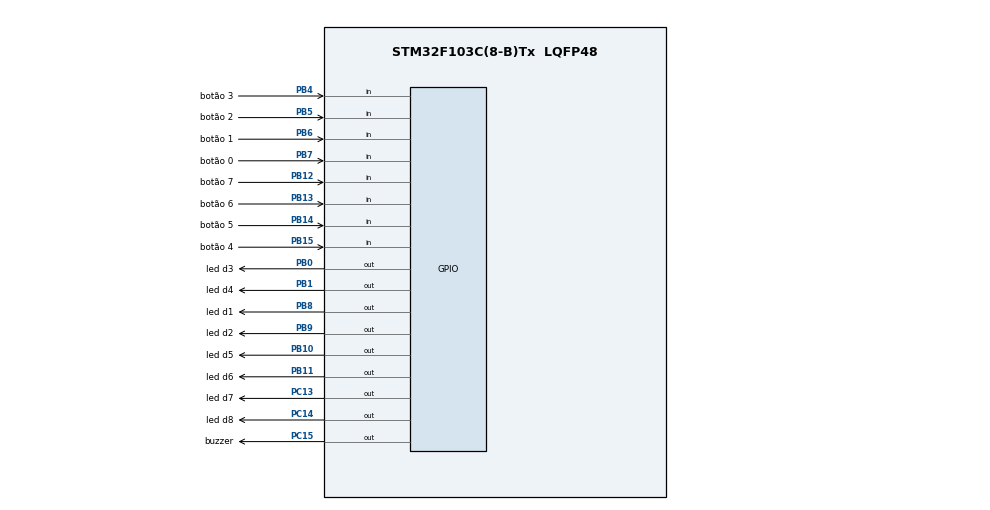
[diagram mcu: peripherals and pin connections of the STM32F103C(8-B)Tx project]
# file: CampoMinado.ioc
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Mcu.Family=STM32F1
Mcu.Name=STM32F103C(8-B)Tx
Mcu.Package=LQFP48
NVIC.PriorityGroup=NVIC_PRIORITYGROUP_4
PA13.Mode=Serial_Wire
PA13.Signal=SYS_JTMS-SWDIO
PA14.Mode=Serial_Wire
PA14.Signal=SYS_JTCK-SWCLK
PB0.GPIO_Label=led d3
PB0.Signal=GPIO_Output
PB1.GPIO_Label=led d4
PB1.Signal=GPIO_Output
PB10.GPIO_Label=led d5
PB10.Signal=GPIO_Output
PB11.GPIO_Label=led d6
PB11.Signal=GPIO_Output
PB12.GPIO_Label=bot\u00E3o 7
PB12.Signal=GPIO_Input
PB13.GPIO_Label=bot\u00E3o 6
PB13.Signal=GPIO_Input
PB14.GPIO_Label=bot\u00E3o 5
PB14.Signal=GPIO_Input
PB15.GPIO_Label=bot\u00E3o 4
PB15.Signal=GPIO_Input
PB4.GPIO_Label=bot\u00E3o 3
PB4.GPIO_PuPd=GPIO_PULLUP
PB4.Signal=GPIO_Input
PB5.GPIO_Label=bot\u00E3o 2
PB5.GPIO_PuPd=GPIO_PULLUP
PB5.Signal=GPIO_Input
PB6.GPIO_Label=bot\u00E3o 1
PB6.GPIO_PuPd=GPIO_PULLUP
PB6.Signal=GPIO_Input
PB7.GPIO_Label=bot\u00E3o 0
PB7.GPIO_PuPd=GPIO_PULLUP
PB7.Signal=GPIO_Input
PB8.GPIO_Label=led d1
PB8.Signal=GPIO_Output
PB9.GPIO_Label=led d2
PB9.Signal=GPIO_Output
PC13-TAMPER-RTC.GPIO_Label=led d7
PC13-TAMPER-RTC.Signal=GPIO_Output
PC14-OSC32_IN.GPIO_Label=led d8
PC14-OSC32_IN.Signal=GPIO_Output
PC15-OSC32_OUT.GPIO_Label=buzzer
PC15-OSC32_OUT.GPIO_Speed=GPIO_SPEED_FREQ_LOW
PC15-OSC32_OUT.Signal=GPIO_Output
ProjectManager.HeapSize=0x200
ProjectManager.StackSize=0x400
ProjectManager.TargetToolchain=STM32CubeIDE
RCC.APB1Freq_Value=8000000
RCC.APB2Freq_Value=8000000
board=custom

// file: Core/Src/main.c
/* USER CODE BEGIN Header */
/**
  ******************************************************************************
  * @file           : main.c
  * @brief          : Main program body
  ******************************************************************************
  * @attention
  *
  * <h2><center>&copy; Copyright (c) 2023 STMicroelectronics.
  * All rights reserved.</center></h2>
  *
  * This software component is licensed by ST under BSD 3-Clause license,
  * the "License"; You may not use this file except in compliance with the
  * License. You may obtain a copy of the License at:
  *                        opensource.org/licenses/BSD-3-Clause
  *
  ******************************************************************************
  */
/* USER CODE END Header */
#include "main.h"

/* USER CODE BEGIN Includes */

#include <stdlib.h> //biblioteca de sorteio
#include <stdio.h> //biblioteca de função com retorno

/* USER CODE END Includes */

/* USER CODE BEGIN PV */
 char CampoMinado[4][4];

/* USER CODE END PV */

void SystemClock_Config(void);
static void MX_GPIO_Init(void);
/* USER CODE BEGIN PFP */

void PiscaLed(); //ok
char sorteio(); //ok
void fim(); //ok
void intermitente(); //ok
void Buzzer(); //ok
void Acerto(); //ok
char VerificaColuna(); //ok
char VerificaLinha(); //ok
void LerCombinacao(); //ok

/* USER CODE END PFP */

int main(void)
{

  /* MCU Configuration--------------------------------------------------------*/

  /* Reset of all peripherals, Initializes the Flash interface and the Systick. */
  HAL_Init();

  /* Configure the system clock */
  SystemClock_Config();

  /* Initialize all configured peripherals */
  MX_GPIO_Init();

  /* Infinite loop */
  /* USER CODE BEGIN WHILE */
  while (1)
  {
	  LerCombinacao();

    /* USER CODE END WHILE */

  }
}

void SystemClock_Config(void)
{
  RCC_OscInitTypeDef RCC_OscInitStruct = {0};
  RCC_ClkInitTypeDef RCC_ClkInitStruct = {0};

  /** Initializes the RCC Oscillators according to the specified parameters
  * in the RCC_OscInitTypeDef structure.
  */
  RCC_OscInitStruct.OscillatorType = RCC_OSCILLATORTYPE_HSI;
  RCC_OscInitStruct.HSIState = RCC_HSI_ON;
  RCC_OscInitStruct.HSICalibrationValue = RCC_HSICALIBRATION_DEFAULT;
  RCC_OscInitStruct.PLL.PLLState = RCC_PLL_NONE;
  if (HAL_RCC_OscConfig(&RCC_OscInitStruct) != HAL_OK)
  {
    Error_Handler();
  }
  /** Initializes the CPU, AHB and APB buses clocks
  */
  RCC_ClkInitStruct.ClockType = RCC_CLOCKTYPE_HCLK|RCC_CLOCKTYPE_SYSCLK
                              |RCC_CLOCKTYPE_PCLK1|RCC_CLOCKTYPE_PCLK2;
  RCC_ClkInitStruct.SYSCLKSource = RCC_SYSCLKSOURCE_HSI;
  RCC_ClkInitStruct.AHBCLKDivider = RCC_SYSCLK_DIV1;
  RCC_ClkInitStruct.APB1CLKDivider = RCC_HCLK_DIV1;
  RCC_ClkInitStruct.APB2CLKDivider = RCC_HCLK_DIV1;

  if (HAL_RCC_ClockConfig(&RCC_ClkInitStruct, FLASH_LATENCY_0) != HAL_OK)
  {
    Error_Handler();
  }
}

static void MX_GPIO_Init(void)
{
  GPIO_InitTypeDef GPIO_InitStruct = {0};

  /* GPIO Ports Clock Enable */
  __HAL_RCC_GPIOC_CLK_ENABLE();
  __HAL_RCC_GPIOB_CLK_ENABLE();
  __HAL_RCC_GPIOA_CLK_ENABLE();

  /*Configure GPIO pin Output Level */
  HAL_GPIO_WritePin(GPIOC, led_d7_Pin|led_d8_Pin|buzzer_Pin, GPIO_PIN_RESET);

  /*Configure GPIO pin Output Level */
  HAL_GPIO_WritePin(GPIOB, led_d3_Pin|led_d4_Pin|led_d5_Pin|led_d6_Pin
                          |led_d1_Pin|led_d2_Pin, GPIO_PIN_RESET);

  /*Configure GPIO pins : led_d7_Pin led_d8_Pin buzzer_Pin */
  GPIO_InitStruct.Pin = led_d7_Pin|led_d8_Pin|buzzer_Pin;
  GPIO_InitStruct.Mode = GPIO_MODE_OUTPUT_PP;
  GPIO_InitStruct.Pull = GPIO_NOPULL;
  GPIO_InitStruct.Speed = GPIO_SPEED_FREQ_LOW;
  HAL_GPIO_Init(GPIOC, &GPIO_InitStruct);

  /*Configure GPIO pins : led_d3_Pin led_d4_Pin led_d5_Pin led_d6_Pin
                           led_d1_Pin led_d2_Pin */
  GPIO_InitStruct.Pin = led_d3_Pin|led_d4_Pin|led_d5_Pin|led_d6_Pin
                          |led_d1_Pin|led_d2_Pin;
  GPIO_InitStruct.Mode = GPIO_MODE_OUTPUT_PP;
  GPIO_InitStruct.Pull = GPIO_NOPULL;
  GPIO_InitStruct.Speed = GPIO_SPEED_FREQ_LOW;
  HAL_GPIO_Init(GPIOB, &GPIO_InitStruct);

  /*Configure GPIO pins : bot_o_7_Pin bot_o_6_Pin bot_o_5_Pin bot_o_4_Pin */
  GPIO_InitStruct.Pin = bot_o_7_Pin|bot_o_6_Pin|bot_o_5_Pin|bot_o_4_Pin;
  GPIO_InitStruct.Mode = GPIO_MODE_INPUT;
  GPIO_InitStruct.Pull = GPIO_NOPULL;
  HAL_GPIO_Init(GPIOB, &GPIO_InitStruct);

  /*Configure GPIO pins : bot_o_3_Pin bot_o_2_Pin bot_o_1_Pin bot_o_0_Pin */
  GPIO_InitStruct.Pin = bot_o_3_Pin|bot_o_2_Pin|bot_o_1_Pin|bot_o_0_Pin;
  GPIO_InitStruct.Mode = GPIO_MODE_INPUT;
  GPIO_InitStruct.Pull = GPIO_PULLUP;
  HAL_GPIO_Init(GPIOB, &GPIO_InitStruct);

}

/* USER CODE BEGIN 4 */

void fim() {

	PiscaLed();

	Buzzer();
	HAL_Delay(300);
	HAL_GPIO_WritePin(GPIOC, GPIO_PIN_15, 0);

	do {
		intermitente();
	}
	while (HAL_GPIO_ReadPin(GPIOB,GPIO_PIN_7) && HAL_GPIO_ReadPin(GPIOB,GPIO_PIN_6)
			&& HAL_GPIO_ReadPin(GPIOB,GPIO_PIN_5) && HAL_GPIO_ReadPin(GPIOB,GPIO_PIN_4) &&
			HAL_GPIO_ReadPin(GPIOB,GPIO_PIN_3) && HAL_GPIO_ReadPin(GPIOB,GPIO_PIN_15)
			&& HAL_GPIO_ReadPin(GPIOB,GPIO_PIN_14) && HAL_GPIO_ReadPin(GPIOB,GPIO_PIN_13)==0 );

	//desliga todos os leds
	  HAL_GPIO_WritePin(GPIOB, GPIO_PIN_8, 0); //led 1
	  HAL_GPIO_WritePin(GPIOB, GPIO_PIN_9, 0); //led 2
	  HAL_GPIO_WritePin(GPIOB, GPIO_PIN_0, 0); //led 3
	  HAL_GPIO_WritePin(GPIOB, GPIO_PIN_1, 0); //led 4
	  HAL_GPIO_WritePin(GPIOB, GPIO_PIN_10, 0); //led 5
	  HAL_GPIO_WritePin(GPIOB, GPIO_PIN_11, 0); //led 6
	  HAL_GPIO_WritePin(GPIOC, GPIO_PIN_13, 0); //led 7
	  HAL_GPIO_WritePin(GPIOC, GPIO_PIN_14, 0); //led 8

}

void intermitente() {

	  HAL_GPIO_WritePin(GPIOB, GPIO_PIN_8, 1); //led 1
	  HAL_GPIO_WritePin(GPIOB, GPIO_PIN_9, 1); //led 2
	  HAL_GPIO_WritePin(GPIOB, GPIO_PIN_0, 1); //led 3
	  HAL_GPIO_WritePin(GPIOB, GPIO_PIN_1, 1); //led 4
	  HAL_GPIO_WritePin(GPIOB, GPIO_PIN_10, 1); //led 5
	  HAL_GPIO_WritePin(GPIOB, GPIO_PIN_11, 1); //led 6
	  HAL_GPIO_WritePin(GPIOC, GPIO_PIN_13, 1); //led 7
	  HAL_GPIO_WritePin(GPIOC, GPIO_PIN_14, 1); //led 8

	  HAL_Delay(200);

	  HAL_GPIO_WritePin(GPIOB, GPIO_PIN_8, 0); //led 1
	  HAL_GPIO_WritePin(GPIOB, GPIO_PIN_9, 0); //led 2
	  HAL_GPIO_WritePin(GPIOB, GPIO_PIN_0, 0); //led 3
	  HAL_GPIO_WritePin(GPIOB, GPIO_PIN_1, 0); //led 4
	  HAL_GPIO_WritePin(GPIOB, GPIO_PIN_10, 0); //led 5
	  HAL_GPIO_WritePin(GPIOB, GPIO_PIN_11, 0); //led 6
	  HAL_GPIO_WritePin(GPIOC, GPIO_PIN_13, 0); //led 7
	  HAL_GPIO_WritePin(GPIOC, GPIO_PIN_14, 0); //led 8

	  HAL_Delay(200);
}

void Buzzer(){

	HAL_GPIO_WritePin(GPIOC, GPIO_PIN_15, 1);
	HAL_Delay(200);
	HAL_GPIO_WritePin(GPIOC, GPIO_PIN_15, 0);

}
char sorteio(char *c){

	//linha = i; coluna = j;

	for (int i = 0; i < 4; i++) {

		for (int j = 0; j < 4; j++) {
			CampoMinado[i][j] = '0';
		}
	}

	for (int b = 0; b < 4; b++) {

		int i = rand()%4;
		int j = rand()%4;

		if (CampoMinado[i][j] == '0') {
			CampoMinado[i][j] = '1';
		}

		else { b = b-1; }

	}

	c = &CampoMinado;
	LerCombinacao();
}

void PiscaLed(){

		  HAL_GPIO_WritePin(GPIOB, GPIO_PIN_8, 1); //led 1
		  HAL_GPIO_WritePin(GPIOB, GPIO_PIN_9, 1); //led 2
		  HAL_GPIO_WritePin(GPIOB, GPIO_PIN_0, 1); //led 3
		  HAL_GPIO_WritePin(GPIOB, GPIO_PIN_1, 1); //led 4
		  HAL_GPIO_WritePin(GPIOB, GPIO_PIN_10, 1); //led 5
		  HAL_GPIO_WritePin(GPIOB, GPIO_PIN_11, 1); //led 6
		  HAL_GPIO_WritePin(GPIOC, GPIO_PIN_13, 1); //led 7
		  HAL_GPIO_WritePin(GPIOC, GPIO_PIN_14, 1); //led 8

		  HAL_Delay(1000);

		  HAL_GPIO_WritePin(GPIOB, GPIO_PIN_8, 0); //led 1
		  HAL_GPIO_WritePin(GPIOB, GPIO_PIN_9, 0); //led 2
		  HAL_GPIO_WritePin(GPIOB, GPIO_PIN_0, 0); //led 3
		  HAL_GPIO_WritePin(GPIOB, GPIO_PIN_1, 0); //led 4
		  HAL_GPIO_WritePin(GPIOB, GPIO_PIN_10, 0); //led 5
		  HAL_GPIO_WritePin(GPIOB, GPIO_PIN_11, 0); //led 6
		  HAL_GPIO_WritePin(GPIOC, GPIO_PIN_13, 0); //led 7
		  HAL_GPIO_WritePin(GPIOC, GPIO_PIN_14, 0); //led 8
}
void Acerto(){

	PiscaLed();//pisca os leds por 1 segundo
	Buzzer(); //toca o buzzer
	LerCombinacao();
}

char VerificaColuna(char *p) {

	//leitura coluna
	int coluna1 = HAL_GPIO_ReadPin(GPIOB,GPIO_PIN_7);
	int coluna2 = HAL_GPIO_ReadPin(GPIOB,GPIO_PIN_6);
	int coluna3 = HAL_GPIO_ReadPin(GPIOB,GPIO_PIN_5);
	int coluna4 = HAL_GPIO_ReadPin(GPIOB,GPIO_PIN_4);

	//leitura linha
	int linha1 = HAL_GPIO_ReadPin(GPIOB,GPIO_PIN_3);
	int linha2 = HAL_GPIO_ReadPin(GPIOB,GPIO_PIN_15);
	int linha3 = HAL_GPIO_ReadPin(GPIOB,GPIO_PIN_14);
	int linha4 = HAL_GPIO_ReadPin(GPIOB,GPIO_PIN_13);

	char coluna = 'X';

	if (coluna1 == 1)
	{
		 coluna = '1';
	}
	else if (coluna2 == 1)
	{
		coluna = '2';
	}

	else if (coluna3 == 1)
	{
		coluna = '3';
	}
	else if (coluna4 == 1)
	{
		coluna = '4';
	}
	else
	{
		coluna = 'X';
	}

	p = &coluna;

}

char VerificaLinha(char *p){

	char linha = 'x';

	//leitura linha
		int linha1 = HAL_GPIO_ReadPin(GPIOB,GPIO_PIN_3);
		int linha2 = HAL_GPIO_ReadPin(GPIOB,GPIO_PIN_15);
		int linha3 = HAL_GPIO_ReadPin(GPIOB,GPIO_PIN_14);
		int linha4 = HAL_GPIO_ReadPin(GPIOB,GPIO_PIN_13);

		if (linha1 == 1)
		{
			linha = '1';
		}

		else if (linha2 == 1)
		{
			linha = '2';
		}

		else if (linha3 == 1)
		{
			linha = '3';
		}

		else if (linha4 == 1)
		{
			linha = '4';
		}

		p = &linha;

}

void LerCombinacao(){

	char combinacao[3];
	char CampoMinado[4][4];

	VerificaColuna(combinacao[0]);
	VerificaLinha(combinacao[1]);

	char coluna = combinacao[0];
	char linha = combinacao [1];

	for (int i = 0; i < 4; i++) {
		for (int j = 0; j < 4; j++){
			sorteio(CampoMinado[i][j]);
		}
	}

	if(CampoMinado[coluna][linha] == 1) {
		fim();
	}
	else if (CampoMinado[coluna][linha] == 0) {
		Acerto();
	}
	else { LerCombinacao(); }

}

/* USER CODE END 4 */

void Error_Handler(void)
{
  __disable_irq();
  while (1)
  {
  }
}

/************************ (C) COPYRIGHT STMicroelectronics *****END OF FILE****/
